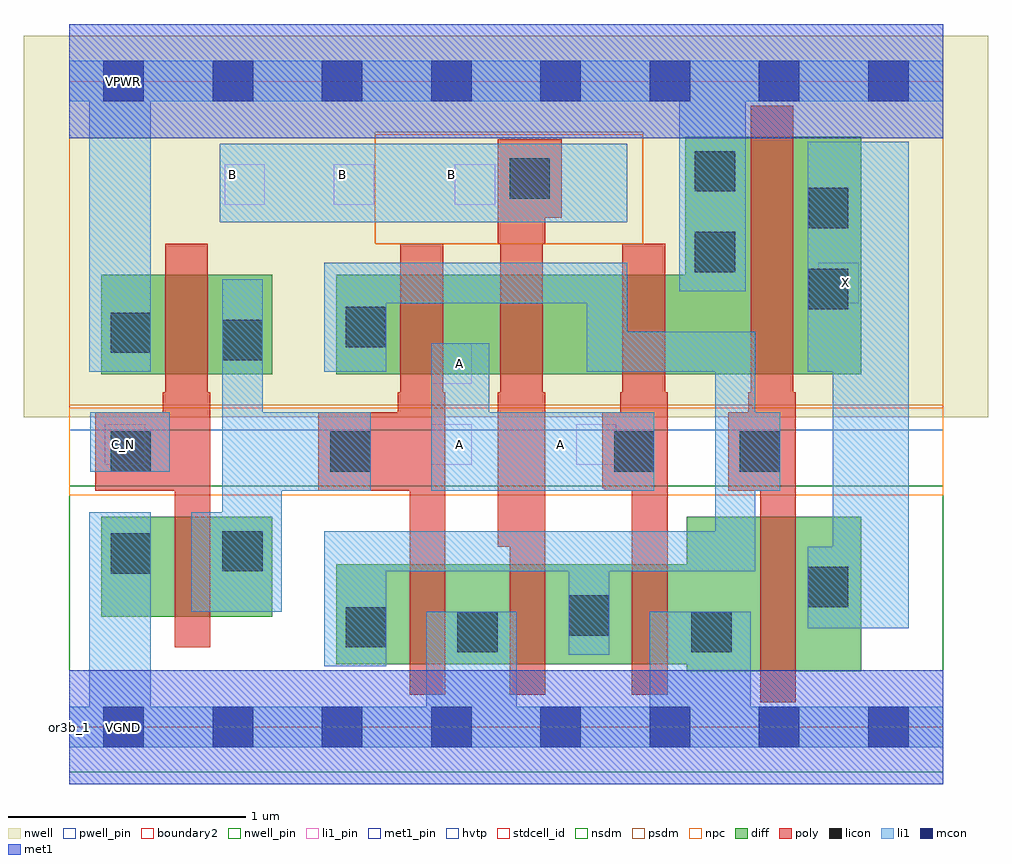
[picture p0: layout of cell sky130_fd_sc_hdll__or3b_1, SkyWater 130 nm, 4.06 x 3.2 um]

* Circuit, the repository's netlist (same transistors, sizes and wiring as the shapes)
* Copyright 2020 The SkyWater PDK Authors
*
* Licensed under the Apache License, Version 2.0 (the "License");
* you may not use this file except in compliance with the License.
* You may obtain a copy of the License at
*
*     https://www.apache.org/licenses/LICENSE-2.0
*
* Unless required by applicable law or agreed to in writing, software
* distributed under the License is distributed on an "AS IS" BASIS,
* WITHOUT WARRANTIES OR CONDITIONS OF ANY KIND, either express or implied.
* See the License for the specific language governing permissions and
* limitations under the License.
*
* SPDX-License-Identifier: Apache-2.0

.SUBCKT sky130_fd_sc_hdll__or3b_1 A B C_N VGND VNB VPB VPWR X
*.PININFO A:I B:I C_N:I VGND:I VNB:I VPB:I VPWR:I X:O
MMP0 VPWR A sndPA VPB sky130_fd_pr__pfet_01v8_hvt m=1 w=0.42U l=0.18U mult=1 sa=0.265
+ sb=0.265 sd=0.28 area=0.063 perim=1.14
MMP1 sndPA B sndPB VPB sky130_fd_pr__pfet_01v8_hvt m=1 w=0.42U l=0.18U mult=1 sa=0.265
+ sb=0.265 sd=0.28 area=0.063 perim=1.14
MMP2 sndPB C y VPB sky130_fd_pr__pfet_01v8_hvt m=1 w=0.42U l=0.18U mult=1 sa=0.265
+ sb=0.265 sd=0.28 area=0.063 perim=1.14
MMIP2 C C_N VPWR VPB sky130_fd_pr__pfet_01v8_hvt m=1 w=0.42U l=0.18U mult=1 sa=0.265
+ sb=0.265 sd=0.28 area=0.063 perim=1.14
MMIP3 X y VPWR VPB sky130_fd_pr__pfet_01v8_hvt m=1 w=1.0U l=0.18U mult=1 sa=0.265
+ sb=0.265 sd=0.28 area=0.063 perim=1.14
MMN0 y A VGND VNB sky130_fd_pr__nfet_01v8 m=1 w=0.42U l=0.15U mult=1 sa=0.265 sb=0.265
+ sd=0.28 area=0.063 perim=1.14
MMN1 y B VGND VNB sky130_fd_pr__nfet_01v8 m=1 w=0.42U l=0.15U mult=1 sa=0.265 sb=0.265
+ sd=0.28 area=0.063 perim=1.14
MMN2 y C VGND VNB sky130_fd_pr__nfet_01v8 m=1 w=0.42U l=0.15U mult=1 sa=0.265 sb=0.265
+ sd=0.28 area=0.063 perim=1.14
MMIN2 C C_N VGND VNB sky130_fd_pr__nfet_01v8 m=1 w=0.42U l=0.15U mult=1 sa=0.265
+ sb=0.265 sd=0.28 area=0.063 perim=1.14
MMIN3 X y VGND VNB sky130_fd_pr__nfet_01v8 m=1 w=0.65U l=0.15U mult=1 sa=0.265
+ sb=0.265 sd=0.28 area=0.063 perim=1.14
.ENDS sky130_fd_sc_hdll__or3b_1

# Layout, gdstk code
import gdstk
lib = gdstk.Library(unit=1e-6, precision=1e-09)
def R(c, l, rs):  # rectangles x0, y0, x1, y1
    for r in rs: c.add(gdstk.rectangle(r[:2], r[2:], *l))
def A(c, l, x, y, w, h, nx, ny, dx, dy):  # array of equal rectangles
    R(c, l, [(x+i*dx, y+j*dy, x+i*dx+w, y+j*dy+h) for i in range(nx) for j in range(ny)])
def P(c, l, *ps):  # polygons
    for p in ps: c.add(gdstk.Polygon(p, *l))
nwell_pin = (64, 16)
nwell = (64, 20)
diff = (65, 20)
poly = (66, 20)
licon = (66, 44)
li1_pin = (67, 16)
li1 = (67, 20)
mcon = (67, 44)
met1_pin = (68, 16)
met1 = (68, 20)
hvtp = (78, 44)
stdcell_id = (81, 4)
nsdm = (93, 44)
psdm = (94, 20)
npc = (95, 20)
pwell_pin = (122, 16)
boundary2 = (236, 0)

sky130_fd_sc_hdll__or3b_ = lib.new_cell('sky130_fd_sc_hdll__or3b_1')
R(sky130_fd_sc_hdll__or3b_, nwell_pin, [(0.145,2.635,0.315,2.805)])
R(sky130_fd_sc_hdll__or3b_, nwell, [(-0.19,1.305,3.87,2.91)])
R(sky130_fd_sc_hdll__or3b_, diff, [(0.135,0.465,0.855,0.885), (0.135,1.485,0.855,1.905)])
P(sky130_fd_sc_hdll__or3b_, diff, [(3.335,0.885),(2.6,0.885),(2.6,0.685),(1.125,0.685),(1.125,0.265),(2.6,0.265),(2.6,0.235),(3.335,0.235)],
  [(3.335,2.485),(2.595,2.485),(2.595,1.905),(1.125,1.905),(1.125,1.485),(3.335,1.485)])
P(sky130_fd_sc_hdll__or3b_, poly, [(0.595,1.41),(0.585,1.41),(0.585,2.035),(0.405,2.035),(0.405,1.41),(0.395,1.41),(0.395,1.325),(0.11,1.325),(0.11,0.995),(0.445,0.995),(0.445,0.335),(0.595,0.335)],
  [(1.585,1.41),(1.575,1.41),(1.575,2.035),(1.395,2.035),(1.395,1.41),(1.385,1.41),(1.385,1.325),(1.05,1.325),(1.05,0.995),(1.435,0.995),(1.435,0.135),(1.585,0.135)],
  [(2.075,2.475),(1.805,2.475),(1.805,2.035),(1.815,2.035),(1.815,1.41),(1.805,1.41),(1.805,0.76),(1.855,0.76),(1.855,0.135),(2.005,0.135),(2.005,1.41),(1.995,1.41),(1.995,2.035),(2.005,2.035),(2.005,2.145),(2.075,2.145)],
  [(2.52,1.41),(2.51,1.41),(2.51,2.035),(2.33,2.035),(2.33,1.41),(2.32,1.41),(2.32,1.325),(2.245,1.325),(2.245,1.005),(2.255,1.005),(2.255,0.995),(2.37,0.995),(2.37,0.135),(2.52,0.135)],
  [(3.06,1.41),(3.05,1.41),(3.05,2.615),(2.87,2.615),(2.87,1.41),(2.86,1.41),(2.86,1.325),(2.775,1.325),(2.775,0.995),(2.91,0.995),(2.91,0.105),(3.06,0.105)])
R(sky130_fd_sc_hdll__or3b_, licon, [(1.635,0.315,1.805,0.485), (2.62,0.315,2.79,0.485), (1.165,0.335,1.335,0.505), (2.105,0.385,2.275,0.555), (3.11,0.505,3.28,0.675), (0.175,0.645,0.345,0.815), (0.645,0.655,0.815,0.825), (0.175,1.075,0.345,1.245), (1.1,1.075,1.27,1.245), (2.295,1.075,2.465,1.245), (2.825,1.075,2.995,1.245), (0.645,1.545,0.815,1.715), (0.175,1.575,0.345,1.745), (1.165,1.6,1.335,1.77), (3.11,1.76,3.28,1.93), (2.635,1.915,2.805,2.085), (3.11,2.1,3.28,2.27), (1.855,2.225,2.025,2.395), (2.635,2.255,2.805,2.425)])
R(sky130_fd_sc_hdll__or3b_, li1_pin, [(0.15,1.105,0.32,1.275), (1.525,1.105,1.695,1.275), (2.135,1.105,2.305,1.275), (1.525,1.445,1.695,1.615), (3.155,1.785,3.325,1.955), (0.655,2.2,0.825,2.37), (1.115,2.2,1.285,2.37), (1.625,2.2,1.795,2.37)])
R(sky130_fd_sc_hdll__or3b_, li1, [(0.09,1.075,0.425,1.325), (0.635,2.125,2.35,2.455)])
P(sky130_fd_sc_hdll__or3b_, li1, [(3.68,0.085),(2.87,0.085),(2.87,0.485),(2.445,0.485),(2.445,0.085),(1.885,0.085),(1.885,0.485),(1.505,0.485),(1.505,0.085),(0.345,0.085),(0.345,0.905),(0.085,0.905),(0.085,0.085),(0,0.085),(0,-0.085),(3.68,-0.085)],
  [(3.535,2.465),(3.11,2.465),(3.11,1.495),(3.215,1.495),(3.215,0.76),(3.11,0.76),(3.11,0.415),(3.535,0.415)],
  [(2.995,1.325),(2.89,1.325),(2.89,1.665),(2.35,1.665),(2.35,1.955),(1.075,1.955),(1.075,1.495),(1.335,1.495),(1.335,1.785),(2.18,1.785),(2.18,1.495),(2.72,1.495),(2.72,0.825),(1.075,0.825),(1.075,0.255),(1.335,0.255),(1.335,0.655),(2.105,0.655),(2.105,0.305),(2.275,0.305),(2.275,0.655),(2.89,0.655),(2.89,0.995),(2.995,0.995)],
  [(2.465,1.325),(1.77,1.325),(1.77,1.615),(1.525,1.615),(1.525,0.995),(2.465,0.995)],
  [(3.68,2.805),(0,2.805),(0,2.635),(0.085,2.635),(0.085,1.495),(0.345,1.495),(0.345,2.635),(2.57,2.635),(2.57,1.835),(2.85,1.835),(2.85,2.635),(3.68,2.635)],
  [(1.27,1.325),(0.815,1.325),(0.815,1.885),(0.645,1.885),(0.645,0.905),(0.515,0.905),(0.515,0.485),(0.895,0.485),(0.895,0.995),(1.27,0.995)])
A(sky130_fd_sc_hdll__or3b_, mcon, 0.145, -0.085, 0.17, 0.17, 8, 2, 0.46, 2.72)
R(sky130_fd_sc_hdll__or3b_, met1_pin, [(0.145,-0.085,0.315,0.085), (0.145,2.635,0.315,2.805)])
R(sky130_fd_sc_hdll__or3b_, met1, [(0,-0.24,3.68,0.24), (0,2.48,3.68,2.96)])
R(sky130_fd_sc_hdll__or3b_, hvtp, [(0,1.25,3.68,2.72)])
R(sky130_fd_sc_hdll__or3b_, stdcell_id, [(0,0,3.68,2.72)])
R(sky130_fd_sc_hdll__or3b_, nsdm, [(0,-0.19,3.68,1.015)])
P(sky130_fd_sc_hdll__or3b_, psdm, [(3.68,2.91),(2.415,2.91),(2.415,2.035),(1.29,2.035),(1.29,2.505),(2.415,2.505),(2.415,2.91),(0,2.91),(0,1.355),(3.68,1.355)])
R(sky130_fd_sc_hdll__or3b_, npc, [(0,0.975,3.68,1.345), (1.29,2.035,2.415,2.495)])
R(sky130_fd_sc_hdll__or3b_, pwell_pin, [(0.145,-0.085,0.315,0.085)])
R(sky130_fd_sc_hdll__or3b_, boundary2, [(0,0,3.68,2.72)])
sky130_fd_sc_hdll__or3b_.add(gdstk.Label('A', (1.645,1.53), layer=67, texttype=5))
sky130_fd_sc_hdll__or3b_.add(gdstk.Label('A', (2.07,1.19), layer=67, texttype=5))
sky130_fd_sc_hdll__or3b_.add(gdstk.Label('C_N', (0.23,1.19), layer=67, texttype=5))
sky130_fd_sc_hdll__or3b_.add(gdstk.Label('X', (3.27,1.87), layer=67, texttype=5))
sky130_fd_sc_hdll__or3b_.add(gdstk.Label('A', (1.645,1.19), layer=67, texttype=5))
sky130_fd_sc_hdll__or3b_.add(gdstk.Label('B', (1.15,2.325), layer=67, texttype=5))
sky130_fd_sc_hdll__or3b_.add(gdstk.Label('B', (0.69,2.325), layer=67, texttype=5))
sky130_fd_sc_hdll__or3b_.add(gdstk.Label('B', (1.61,2.325), layer=67, texttype=5))
sky130_fd_sc_hdll__or3b_.add(gdstk.Label('VGND', (0.23,0), layer=68, texttype=5))
sky130_fd_sc_hdll__or3b_.add(gdstk.Label('VPWR', (0.23,2.72), layer=68, texttype=5))
sky130_fd_sc_hdll__or3b_.add(gdstk.Label('VPB', (0.23,2.72), layer=64, texttype=5))
sky130_fd_sc_hdll__or3b_.add(gdstk.Label('VNB', (0.23,0), layer=64, texttype=59))
sky130_fd_sc_hdll__or3b_.add(gdstk.Label('or3b_1', (0,0), layer=83, texttype=44))

lib.write_gds('sky130_fd_sc_hdll__or3b_1.gds')
